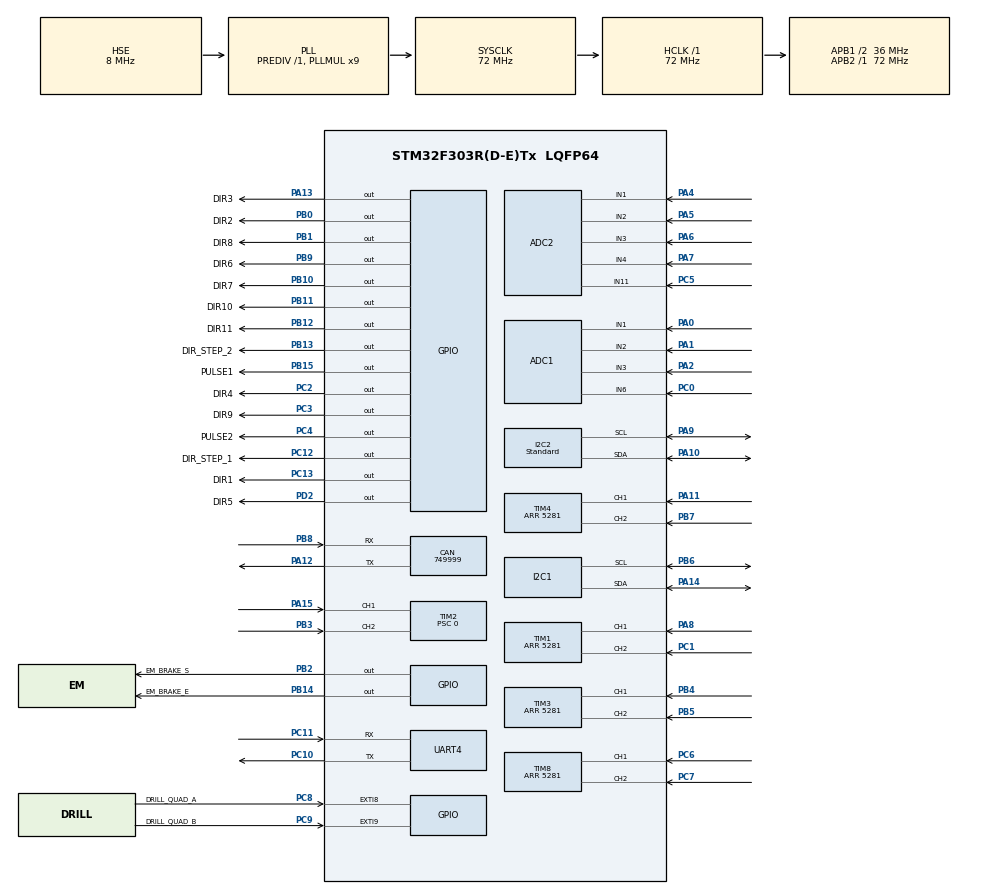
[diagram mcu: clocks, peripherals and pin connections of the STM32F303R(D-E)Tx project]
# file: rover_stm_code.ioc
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ADC1.Channel-3\#ChannelRegularConversion=ADC_CHANNEL_1
ADC1.Channel-4\#ChannelRegularConversion=ADC_CHANNEL_2
ADC1.Channel-5\#ChannelRegularConversion=ADC_CHANNEL_3
ADC1.Channel-6\#ChannelRegularConversion=ADC_CHANNEL_6
ADC1.ContinuousConvMode=ENABLE
ADC1.EnableRegularConversion=ENABLE
ADC1.NbrOfConversion=4
ADC1.NbrOfConversionFlag=1
ADC1.Offset-3\#ChannelRegularConversion=0
ADC1.Offset-4\#ChannelRegularConversion=0
ADC1.Offset-5\#ChannelRegularConversion=0
ADC1.Offset-6\#ChannelRegularConversion=0
ADC1.OffsetNumber-3\#ChannelRegularConversion=ADC_OFFSET_NONE
ADC1.OffsetNumber-4\#ChannelRegularConversion=ADC_OFFSET_NONE
ADC1.OffsetNumber-5\#ChannelRegularConversion=ADC_OFFSET_NONE
ADC1.OffsetNumber-6\#ChannelRegularConversion=ADC_OFFSET_NONE
ADC1.Rank-3\#ChannelRegularConversion=1
ADC1.Rank-4\#ChannelRegularConversion=2
ADC1.Rank-5\#ChannelRegularConversion=3
ADC1.Rank-6\#ChannelRegularConversion=4
ADC1.SamplingTime-3\#ChannelRegularConversion=ADC_SAMPLETIME_1CYCLE_5
ADC1.SamplingTime-4\#ChannelRegularConversion=ADC_SAMPLETIME_1CYCLE_5
ADC1.SamplingTime-5\#ChannelRegularConversion=ADC_SAMPLETIME_1CYCLE_5
ADC1.SamplingTime-6\#ChannelRegularConversion=ADC_SAMPLETIME_1CYCLE_5
ADC1.SamplingTimeOPAMP-3\#ChannelRegularConversion=ADC_SAMPLETIME_61CYCLES_5
ADC1.SamplingTimeOPAMP-4\#ChannelRegularConversion=ADC_SAMPLETIME_61CYCLES_5
ADC1.SamplingTimeOPAMP-5\#ChannelRegularConversion=ADC_SAMPLETIME_61CYCLES_5
ADC1.SamplingTimeOPAMP-6\#ChannelRegularConversion=ADC_SAMPLETIME_61CYCLES_5
ADC1.master=1
ADC2.Channel-0\#ChannelRegularConversion=ADC_CHANNEL_1
ADC2.Channel-1\#ChannelRegularConversion=ADC_CHANNEL_2
ADC2.Channel-2\#ChannelRegularConversion=ADC_CHANNEL_3
ADC2.Channel-3\#ChannelRegularConversion=ADC_CHANNEL_4
ADC2.Channel-4\#ChannelRegularConversion=ADC_CHANNEL_11
ADC2.ContinuousConvMode=ENABLE
ADC2.NbrOfConversion=5
ADC2.NbrOfConversionFlag=1
ADC2.Offset-0\#ChannelRegularConversion=0
ADC2.Offset-1\#ChannelRegularConversion=0
ADC2.Offset-2\#ChannelRegularConversion=0
ADC2.Offset-3\#ChannelRegularConversion=0
ADC2.Offset-4\#ChannelRegularConversion=0
ADC2.OffsetNumber-0\#ChannelRegularConversion=ADC_OFFSET_NONE
ADC2.OffsetNumber-1\#ChannelRegularConversion=ADC_OFFSET_NONE
ADC2.OffsetNumber-2\#ChannelRegularConversion=ADC_OFFSET_NONE
ADC2.OffsetNumber-3\#ChannelRegularConversion=ADC_OFFSET_NONE
ADC2.OffsetNumber-4\#ChannelRegularConversion=ADC_OFFSET_NONE
ADC2.Rank-0\#ChannelRegularConversion=1
ADC2.Rank-1\#ChannelRegularConversion=2
ADC2.Rank-2\#ChannelRegularConversion=3
ADC2.Rank-3\#ChannelRegularConversion=4
ADC2.Rank-4\#ChannelRegularConversion=5
ADC2.SamplingTime-0\#ChannelRegularConversion=ADC_SAMPLETIME_1CYCLE_5
ADC2.SamplingTime-1\#ChannelRegularConversion=ADC_SAMPLETIME_1CYCLE_5
ADC2.SamplingTime-2\#ChannelRegularConversion=ADC_SAMPLETIME_1CYCLE_5
ADC2.SamplingTime-3\#ChannelRegularConversion=ADC_SAMPLETIME_1CYCLE_5
ADC2.SamplingTime-4\#ChannelRegularConversion=ADC_SAMPLETIME_1CYCLE_5
ADC2.SamplingTimeOPAMP-1\#ChannelRegularConversion=ADC_SAMPLETIME_61CYCLES_5
ADC2.SamplingTimeOPAMP-2\#ChannelRegularConversion=ADC_SAMPLETIME_61CYCLES_5
ADC2.SamplingTimeOPAMP-3\#ChannelRegularConversion=ADC_SAMPLETIME_61CYCLES_5
ADC2.SamplingTimeOPAMP-4\#ChannelRegularConversion=ADC_SAMPLETIME_61CYCLES_5
CAN.BS1=CAN_BS1_1TQ
CAN.BS2=CAN_BS2_1TQ
CAN.CalculateBaudRate=749999
CAN.CalculateTimeBit=1333
CAN.CalculateTimeQuantum=444.44444444444446
Dma.ADC1.0.Direction=DMA_PERIPH_TO_MEMORY
Dma.ADC1.0.Instance=DMA1_Channel1
Dma.ADC1.0.MemDataAlignment=DMA_MDATAALIGN_HALFWORD
Dma.ADC1.0.MemInc=DMA_MINC_ENABLE
Dma.ADC1.0.Mode=DMA_CIRCULAR
Dma.ADC1.0.PeriphDataAlignment=DMA_PDATAALIGN_HALFWORD
Dma.ADC1.0.PeriphInc=DMA_PINC_DISABLE
Dma.ADC1.0.Priority=DMA_PRIORITY_LOW
Dma.ADC2.1.Direction=DMA_PERIPH_TO_MEMORY
Dma.ADC2.1.Instance=DMA2_Channel1
Dma.ADC2.1.MemDataAlignment=DMA_MDATAALIGN_HALFWORD
Dma.ADC2.1.MemInc=DMA_MINC_ENABLE
Dma.ADC2.1.Mode=DMA_CIRCULAR
Dma.ADC2.1.PeriphDataAlignment=DMA_PDATAALIGN_HALFWORD
Dma.ADC2.1.PeriphInc=DMA_PINC_DISABLE
Dma.ADC2.1.Priority=DMA_PRIORITY_LOW
Dma.Request0=ADC1
Dma.Request1=ADC2
Dma.Request2=UART4_RX
Dma.UART4_RX.2.Direction=DMA_PERIPH_TO_MEMORY
Dma.UART4_RX.2.Instance=DMA2_Channel3
Dma.UART4_RX.2.MemDataAlignment=DMA_MDATAALIGN_BYTE
Dma.UART4_RX.2.MemInc=DMA_MINC_ENABLE
Dma.UART4_RX.2.Mode=DMA_NORMAL
Dma.UART4_RX.2.PeriphDataAlignment=DMA_PDATAALIGN_BYTE
Dma.UART4_RX.2.PeriphInc=DMA_PINC_DISABLE
Dma.UART4_RX.2.Priority=DMA_PRIORITY_MEDIUM
I2C1.Timing=0x00201D2B
I2C2.I2C_Speed_Mode=I2C_Standard
I2C2.Timing=0x00201D2B
Mcu.Family=STM32F3
Mcu.Name=STM32F303R(D-E)Tx
Mcu.Package=LQFP64
NVIC.DMA1_Channel1_IRQn=true\:0\:0\:false\:false\:true\:false\:true\:true
NVIC.DMA2_Channel1_IRQn=true\:0\:0\:false\:false\:true\:false\:true\:true
NVIC.DMA2_Channel3_IRQn=true\:0\:0\:false\:false\:true\:false\:true\:true
NVIC.EXTI9_5_IRQn=true\:0\:0\:false\:false\:true\:true\:true\:true
NVIC.I2C1_ER_IRQn=true\:0\:0\:false\:false\:true\:true\:true\:true
NVIC.I2C1_EV_IRQn=true\:0\:0\:false\:false\:true\:true\:true\:true
NVIC.I2C2_ER_IRQn=true\:0\:0\:false\:false\:true\:true\:true\:true
NVIC.I2C2_EV_IRQn=true\:0\:0\:false\:false\:true\:true\:true\:true
NVIC.PriorityGroup=NVIC_PRIORITYGROUP_4
NVIC.TIM1_UP_TIM16_IRQn=true\:0\:0\:false\:false\:true\:true\:true\:true
NVIC.TIM6_DAC_IRQn=true\:0\:0\:false\:false\:true\:true\:true\:true
NVIC.TIM7_IRQn=true\:0\:0\:false\:false\:true\:true\:true\:true
PA0.Mode=IN1-Single-Ended
PA0.Signal=ADC1_IN1
PA1.Mode=IN2-Single-Ended
PA1.Signal=ADC1_IN2
PA10.Mode=I2C
PA10.Signal=I2C2_SDA
PA11.Signal=S_TIM4_CH1
PA12.Mode=CAN_Activate
PA12.Signal=CAN_TX
PA13.GPIO_Label=DIR3
PA13.Signal=GPIO_Output
PA14.Mode=I2C
PA14.Signal=I2C1_SDA
PA15.Signal=S_TIM2_CH1_ETR
PA2.Mode=IN3-Single-Ended
PA2.Signal=ADC1_IN3
PA4.Mode=IN1-Single-Ended
PA4.Signal=ADC2_IN1
PA5.Mode=IN2-Single-Ended
PA5.Signal=ADC2_IN2
PA6.Mode=IN3-Single-Ended
PA6.Signal=ADC2_IN3
PA7.Mode=IN4-Single-Ended
PA7.Signal=ADC2_IN4
PA8.Signal=S_TIM1_CH1
PA9.Mode=I2C
PA9.Signal=I2C2_SCL
PB0.GPIO_Label=DIR2
PB0.Signal=GPIO_Output
PB1.GPIO_Label=DIR8
PB1.Signal=GPIO_Output
PB10.GPIO_Label=DIR7
PB10.Signal=GPIO_Output
PB11.GPIO_Label=DIR10
PB11.Signal=GPIO_Output
PB12.GPIO_Label=DIR11
PB12.Signal=GPIO_Output
PB13.GPIO_Label=DIR_STEP_2
PB13.Signal=GPIO_Output
PB14.GPIO_Label=EM_BRAKE_E
PB14.Signal=GPIO_Output
PB15.GPIO_Label=PULSE1
PB15.Signal=GPIO_Output
PB2.GPIO_Label=EM_BRAKE_S
PB2.Signal=GPIO_Output
PB3.Signal=S_TIM2_CH2
PB4.Signal=S_TIM3_CH1
PB5.Signal=S_TIM3_CH2
PB6.Mode=I2C
PB6.Signal=I2C1_SCL
PB7.Signal=S_TIM4_CH2
PB8.Mode=CAN_Activate
PB8.Signal=CAN_RX
PB9.GPIO_Label=DIR6
PB9.Signal=GPIO_Output
PC0.Signal=ADCx_IN6
PC1.Signal=S_TIM1_CH2
PC10.Mode=Asynchronous
PC10.Signal=UART4_TX
PC11.Mode=Asynchronous
PC11.Signal=UART4_RX
PC12.GPIO_Label=DIR_STEP_1
PC12.Signal=GPIO_Output
PC13.GPIO_Label=DIR1
PC13.Signal=GPIO_Output
PC14-OSC32_IN.Mode=LSE-External-Oscillator
PC14-OSC32_IN.Signal=RCC_OSC32_IN
PC15-OSC32_OUT.Mode=LSE-External-Oscillator
PC15-OSC32_OUT.Signal=RCC_OSC32_OUT
PC2.GPIO_Label=DIR4
PC2.Signal=GPIO_Output
PC3.GPIO_Label=DIR9
PC3.Signal=GPIO_Output
PC4.GPIO_Label=PULSE2
PC4.Signal=GPIO_Output
PC5.Mode=IN11-Single-Ended
PC5.Signal=ADC2_IN11
PC6.Signal=S_TIM8_CH1
PC7.Signal=S_TIM8_CH2
PC8.GPIO_Label=DRILL_QUAD_A
PC8.Signal=GPXTI8
PC9.GPIO_Label=DRILL_QUAD_B
PC9.GPIO_ModeDefaultEXTI=GPIO_MODE_IT_RISING_FALLING
PC9.GPIO_PuPd=GPIO_NOPULL
PC9.Signal=GPXTI9
PD2.GPIO_Label=DIR5
PD2.Signal=GPIO_Output
PF0-OSC_IN.Mode=HSE-External-Oscillator
PF0-OSC_IN.Signal=RCC_OSC_IN
PF1-OSC_OUT.Mode=HSE-External-Oscillator
PF1-OSC_OUT.Signal=RCC_OSC_OUT
ProjectManager.HeapSize=0x200
ProjectManager.StackSize=0x400
ProjectManager.TargetToolchain=STM32CubeIDE
RCC.AHBFreq_Value=72000000
RCC.APB1CLKDivider=RCC_HCLK_DIV2
RCC.APB1Freq_Value=36000000
RCC.APB1TimFreq_Value=72000000
RCC.APB2Freq_Value=72000000
RCC.APB2TimFreq_Value=72000000
RCC.CortexFreq_Value=72000000
RCC.HCLKFreq_Value=72000000
RCC.HSE_VALUE=8000000
RCC.HSI_VALUE=8000000
RCC.PLLMUL=RCC_PLL_MUL9
RCC.PLLSourceVirtual=RCC_PLLSOURCE_HSE
RCC.SYSCLKFreq_VALUE=72000000
RCC.SYSCLKSourceVirtual=RCC_SYSCLKSOURCE_PLLCLK
RCC.USBFreq_Value=72000000
SH.ADCx_IN6.0=ADC1_IN6,IN6-Single-Ended
SH.S_TIM1_CH1.0=TIM1_CH1,Encoder_Interface
SH.S_TIM1_CH2.0=TIM1_CH2,Encoder_Interface
SH.S_TIM2_CH1_ETR.0=TIM2_CH1,Encoder_Interface
SH.S_TIM2_CH2.0=TIM2_CH2,Encoder_Interface
SH.S_TIM3_CH1.0=TIM3_CH1,Encoder_Interface
SH.S_TIM3_CH2.0=TIM3_CH2,Encoder_Interface
SH.S_TIM4_CH1.0=TIM4_CH1,Encoder_Interface
SH.S_TIM4_CH2.0=TIM4_CH2,Encoder_Interface
SH.S_TIM8_CH1.0=TIM8_CH1,Encoder_Interface
SH.S_TIM8_CH2.0=TIM8_CH2,Encoder_Interface
TIM1.AutoReloadPreload=TIM_AUTORELOAD_PRELOAD_ENABLE
TIM1.EncoderMode=TIM_ENCODERMODE_TI12
TIM1.IC1Filter=10
TIM1.IC2Filter=10
TIM1.Period=5281
TIM16.AutoReloadPreload=TIM_AUTORELOAD_PRELOAD_ENABLE
TIM16.Period=99
TIM16.Prescaler=7199
TIM2.AutoReloadPreload=TIM_AUTORELOAD_PRELOAD_ENABLE
TIM2.EncoderMode=TIM_ENCODERMODE_TI12
TIM2.IC1Filter=10
TIM2.IC2Filter=10
TIM2.Period=5281
TIM2.Prescaler=0
TIM3.AutoReloadPreload=TIM_AUTORELOAD_PRELOAD_ENABLE
TIM3.EncoderMode=TIM_ENCODERMODE_TI12
TIM3.IC1Filter=10
TIM3.IC2Filter=10
TIM3.Period=5281
TIM4.AutoReloadPreload=TIM_AUTORELOAD_PRELOAD_ENABLE
TIM4.EncoderMode=TIM_ENCODERMODE_TI12
TIM4.IC1Filter=10
TIM4.IC2Filter=10
TIM4.Period=5281
TIM6.AutoReloadPreload=TIM_AUTORELOAD_PRELOAD_ENABLE
TIM6.Period=99
TIM6.Prescaler=7199
TIM7.AutoReloadPreload=TIM_AUTORELOAD_PRELOAD_ENABLE
TIM7.Period=799
TIM7.Prescaler=71
TIM8.AutoReloadPreload=TIM_AUTORELOAD_PRELOAD_ENABLE
TIM8.EncoderMode=TIM_ENCODERMODE_TI12
TIM8.IC1Filter=10
TIM8.IC2Filter=10
TIM8.Period=5281
VP_TIM16_VS_ClockSourceINT.Mode=Enable_Timer
VP_TIM6_VS_ClockSourceINT.Mode=Enable_Timer
VP_TIM7_VS_ClockSourceINT.Mode=Enable_Timer
board=custom

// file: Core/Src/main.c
/* USER CODE BEGIN Header */
/**
  ******************************************************************************
  * @file           : main.c
  * @brief          : Main program body
  ******************************************************************************
  * @attention
  *
  * Copyright (c) 2025 STMicroelectronics.
  * All rights reserved.
  *
  * This software is licensed under terms that can be found in the LICENSE file
  * in the root directory of this software component.
  * If no LICENSE file comes with this software, it is provided AS-IS.
  *
  ******************************************************************************
  */
/* USER CODE END Header */
#include "main.h"

ADC_HandleTypeDef hadc1;
ADC_HandleTypeDef hadc2;
DMA_HandleTypeDef hdma_adc1;
DMA_HandleTypeDef hdma_adc2;

CAN_HandleTypeDef hcan;

I2C_HandleTypeDef hi2c1;
I2C_HandleTypeDef hi2c2;

TIM_HandleTypeDef htim1;
TIM_HandleTypeDef htim2;
TIM_HandleTypeDef htim3;
TIM_HandleTypeDef htim4;
TIM_HandleTypeDef htim6;
TIM_HandleTypeDef htim7;
TIM_HandleTypeDef htim8;
TIM_HandleTypeDef htim16;

UART_HandleTypeDef huart4;
DMA_HandleTypeDef hdma_uart4_rx;

/* USER CODE BEGIN PV */
extern uint8_t TxData_buf[];

/* USER CODE END PV */

void SystemClock_Config(void);
static void MX_GPIO_Init(void);
static void MX_DMA_Init(void);
static void MX_ADC1_Init(void);
static void MX_ADC2_Init(void);
static void MX_CAN_Init(void);
static void MX_I2C1_Init(void);
static void MX_I2C2_Init(void);
static void MX_TIM1_Init(void);
static void MX_TIM2_Init(void);
static void MX_TIM3_Init(void);
static void MX_TIM4_Init(void);
static void MX_TIM8_Init(void);
static void MX_UART4_Init(void);
static void MX_TIM6_Init(void);
static void MX_TIM7_Init(void);
static void MX_TIM16_Init(void);

/* USER CODE BEGIN 0 */

extern uint32_t enc_curr[NUM_QUAD];
extern uint32_t enc_prev[NUM_QUAD];

extern int16_t diff[NUM_QUAD];
extern int16_t diff2[NUM_QUAD];
extern int16_t diff_prev[NUM_QUAD];

//drill encoder
extern int16_t gpio_diff;
extern int16_t gpio_diff2;
extern int16_t gpio_diff_prev;

extern int32_t gpio_pos;
extern int32_t gpio_enc_curr; //absolute position
extern int32_t gpio_enc_prev;

extern int32_t pos[NUM_QUAD]; //absolute position
extern int32_t dat[3*NUM_QUAD];

uint8_t uart_rx_buf[UART_RX_SIZE];
volatile uint8_t pwm_arr[NUM_MOTORS];
uint16_t pwm_out[NUM_MOTORS];
volatile _Bool dir_arr[NUM_MOTORS];
volatile uint16_t servo_arr[NUM_SERVOS];
uint8_t wrist_command = 0;
//_Bool down = 0;

int i;

int16_t diffdat[NUM_QUAD] = {0};

extern volatile int32_t quad_count;
extern volatile uint8_t gpio_quad_counting_down;

extern volatile uint8_t motor_overcurrent_flags[]; //overcurrent flags

GPIO_TypeDef * const dir_port_arr[NUM_MOTORS] = {DIR1_GPIO_Port, DIR2_GPIO_Port, DIR3_GPIO_Port,
		DIR4_GPIO_Port, DIR5_GPIO_Port, DIR6_GPIO_Port, DIR7_GPIO_Port,
		DIR8_GPIO_Port, DIR9_GPIO_Port, DIR10_GPIO_Port, DIR11_GPIO_Port};
uint16_t const dir_pin_arr[NUM_MOTORS] = {DIR1_Pin, DIR2_Pin, DIR3_Pin, DIR4_Pin, DIR5_Pin,
		DIR6_Pin, DIR7_Pin, DIR8_Pin, DIR9_Pin, DIR10_Pin, DIR11_Pin};

/* USER CODE END 0 */

int main(void)
{

  /* USER CODE BEGIN 1 */
	//start UART RX

  /* USER CODE END 1 */

  /* MCU Configuration--------------------------------------------------------*/

  /* Reset of all peripherals, Initializes the Flash interface and the Systick. */
  HAL_Init();

  /* Configure the system clock */
  SystemClock_Config();

  /* Initialize all configured peripherals */
  MX_GPIO_Init();
  MX_DMA_Init();
  MX_ADC1_Init();
  MX_ADC2_Init();
  MX_CAN_Init();
  MX_I2C1_Init();
  MX_I2C2_Init();
  MX_TIM1_Init();
  MX_TIM2_Init();
  MX_TIM3_Init();
  MX_TIM4_Init();
  MX_TIM8_Init();
  MX_UART4_Init();
  MX_TIM6_Init();
  MX_TIM7_Init();
  MX_TIM16_Init();
  /* USER CODE BEGIN 2 */
  HAL_TIM_Encoder_Start(&htim1, TIM_CHANNEL_ALL);
  HAL_TIM_Encoder_Start(&htim2, TIM_CHANNEL_ALL);
  HAL_TIM_Encoder_Start(&htim3, TIM_CHANNEL_ALL);
  HAL_TIM_Encoder_Start(&htim4, TIM_CHANNEL_ALL);
  HAL_TIM_Encoder_Start(&htim8, TIM_CHANNEL_ALL);
  //startup sequence
  HAL_TIM_Base_Start_IT(&htim7);
  Encoder_Init();
  Start_ADC_DMA_All();
  PCA9685_MOTOR_Init();
  PCA9685_MOTOR_SetFrequency(1000);

  PCA9685_CAM_Init();
  PCA9685_CAM_SetFrequency(50);

  HAL_UART_Receive_DMA (&huart4, uart_rx_buf, UART_RX_SIZE);

  int get_pca_index_val[] = {14,13,11,12,10,9,7,6,8,5,4,3};
  /* USER CODE END 2 */

  /* Infinite loop */
  /* USER CODE BEGIN WHILE */
	while (1)
	{
		for (int i = 0; i < NUM_MOTORS; i++){
			PCA9685_MOTOR_SetPWM(get_pca_index_val[i], 0, ((uint16_t)pwm_arr[i]) << 4);
			HAL_GPIO_WritePin(dir_port_arr[i], dir_pin_arr[i], dir_arr[i]);
		}

		for (int i = 0; i < NUM_SERVOS; i++){
			PCA9685_CAM_SetPWM(i, 0, servo_arr[i]);
		}

		read_magnetic_encoder();

		timer_quad_poll();
		timer_update_TX();
		drill_quad_poll();
		drill_update_TX();

		wrist_turn(wrist_command);

		TxData_buf[data_out_length-1] = '\n';
		HAL_UART_Transmit(&huart4, TxData_buf, data_out_length, 100);

		HAL_Delay(50); // delay between magnetic encoder data
    /* USER CODE END WHILE */

	}
}

void SystemClock_Config(void)
{
  RCC_OscInitTypeDef RCC_OscInitStruct = {0};
  RCC_ClkInitTypeDef RCC_ClkInitStruct = {0};
  RCC_PeriphCLKInitTypeDef PeriphClkInit = {0};

  /** Initializes the RCC Oscillators according to the specified parameters
  * in the RCC_OscInitTypeDef structure.
  */
  RCC_OscInitStruct.OscillatorType = RCC_OSCILLATORTYPE_HSI|RCC_OSCILLATORTYPE_HSE;
  RCC_OscInitStruct.HSEState = RCC_HSE_ON;
  RCC_OscInitStruct.HSIState = RCC_HSI_ON;
  RCC_OscInitStruct.HSICalibrationValue = RCC_HSICALIBRATION_DEFAULT;
  RCC_OscInitStruct.PLL.PLLState = RCC_PLL_ON;
  RCC_OscInitStruct.PLL.PLLSource = RCC_PLLSOURCE_HSE;
  RCC_OscInitStruct.PLL.PLLMUL = RCC_PLL_MUL9;
  RCC_OscInitStruct.PLL.PREDIV = RCC_PREDIV_DIV1;
  if (HAL_RCC_OscConfig(&RCC_OscInitStruct) != HAL_OK)
  {
    Error_Handler();
  }

  /** Initializes the CPU, AHB and APB buses clocks
  */
  RCC_ClkInitStruct.ClockType = RCC_CLOCKTYPE_HCLK|RCC_CLOCKTYPE_SYSCLK
                              |RCC_CLOCKTYPE_PCLK1|RCC_CLOCKTYPE_PCLK2;
  RCC_ClkInitStruct.SYSCLKSource = RCC_SYSCLKSOURCE_PLLCLK;
  RCC_ClkInitStruct.AHBCLKDivider = RCC_SYSCLK_DIV1;
  RCC_ClkInitStruct.APB1CLKDivider = RCC_HCLK_DIV2;
  RCC_ClkInitStruct.APB2CLKDivider = RCC_HCLK_DIV1;

  if (HAL_RCC_ClockConfig(&RCC_ClkInitStruct, FLASH_LATENCY_2) != HAL_OK)
  {
    Error_Handler();
  }
  PeriphClkInit.PeriphClockSelection = RCC_PERIPHCLK_UART4|RCC_PERIPHCLK_I2C1
                              |RCC_PERIPHCLK_I2C2|RCC_PERIPHCLK_TIM1
                              |RCC_PERIPHCLK_TIM16|RCC_PERIPHCLK_TIM8
                              |RCC_PERIPHCLK_ADC12|RCC_PERIPHCLK_TIM2
                              |RCC_PERIPHCLK_TIM34;
  PeriphClkInit.Uart4ClockSelection = RCC_UART4CLKSOURCE_PCLK1;
  PeriphClkInit.Adc12ClockSelection = RCC_ADC12PLLCLK_DIV1;
  PeriphClkInit.I2c1ClockSelection = RCC_I2C1CLKSOURCE_HSI;
  PeriphClkInit.I2c2ClockSelection = RCC_I2C2CLKSOURCE_HSI;
  PeriphClkInit.Tim1ClockSelection = RCC_TIM1CLK_HCLK;
  PeriphClkInit.Tim16ClockSelection = RCC_TIM16CLK_HCLK;
  PeriphClkInit.Tim8ClockSelection = RCC_TIM8CLK_HCLK;
  PeriphClkInit.Tim2ClockSelection = RCC_TIM2CLK_HCLK;
  PeriphClkInit.Tim34ClockSelection = RCC_TIM34CLK_HCLK;
  if (HAL_RCCEx_PeriphCLKConfig(&PeriphClkInit) != HAL_OK)
  {
    Error_Handler();
  }
}

static void MX_ADC1_Init(void)
{

  ADC_MultiModeTypeDef multimode = {0};
  ADC_ChannelConfTypeDef sConfig = {0};

  /** Common config
  */
  hadc1.Instance = ADC1;
  hadc1.Init.ClockPrescaler = ADC_CLOCK_ASYNC_DIV1;
  hadc1.Init.Resolution = ADC_RESOLUTION_12B;
  hadc1.Init.ScanConvMode = ADC_SCAN_ENABLE;
  hadc1.Init.ContinuousConvMode = ENABLE;
  hadc1.Init.DiscontinuousConvMode = DISABLE;
  hadc1.Init.ExternalTrigConvEdge = ADC_EXTERNALTRIGCONVEDGE_NONE;
  hadc1.Init.ExternalTrigConv = ADC_SOFTWARE_START;
  hadc1.Init.DataAlign = ADC_DATAALIGN_RIGHT;
  hadc1.Init.NbrOfConversion = 4;
  hadc1.Init.DMAContinuousRequests = DISABLE;
  hadc1.Init.EOCSelection = ADC_EOC_SINGLE_CONV;
  hadc1.Init.LowPowerAutoWait = DISABLE;
  hadc1.Init.Overrun = ADC_OVR_DATA_OVERWRITTEN;
  if (HAL_ADC_Init(&hadc1) != HAL_OK)
  {
    Error_Handler();
  }

  /** Configure the ADC multi-mode
  */
  multimode.Mode = ADC_MODE_INDEPENDENT;
  if (HAL_ADCEx_MultiModeConfigChannel(&hadc1, &multimode) != HAL_OK)
  {
    Error_Handler();
  }

  /** Configure Regular Channel
  */
  sConfig.Channel = ADC_CHANNEL_1;
  sConfig.Rank = ADC_REGULAR_RANK_1;
  sConfig.SingleDiff = ADC_SINGLE_ENDED;
  sConfig.SamplingTime = ADC_SAMPLETIME_1CYCLE_5;
  sConfig.OffsetNumber = ADC_OFFSET_NONE;
  sConfig.Offset = 0;
  if (HAL_ADC_ConfigChannel(&hadc1, &sConfig) != HAL_OK)
  {
    Error_Handler();
  }

  /** Configure Regular Channel
  */
  sConfig.Channel = ADC_CHANNEL_2;
  sConfig.Rank = ADC_REGULAR_RANK_2;
  if (HAL_ADC_ConfigChannel(&hadc1, &sConfig) != HAL_OK)
  {
    Error_Handler();
  }

  /** Configure Regular Channel
  */
  sConfig.Channel = ADC_CHANNEL_3;
  sConfig.Rank = ADC_REGULAR_RANK_3;
  if (HAL_ADC_ConfigChannel(&hadc1, &sConfig) != HAL_OK)
  {
    Error_Handler();
  }

  /** Configure Regular Channel
  */
  sConfig.Channel = ADC_CHANNEL_6;
  sConfig.Rank = ADC_REGULAR_RANK_4;
  if (HAL_ADC_ConfigChannel(&hadc1, &sConfig) != HAL_OK)
  {
    Error_Handler();
  }

}

static void MX_ADC2_Init(void)
{

  ADC_ChannelConfTypeDef sConfig = {0};

  /** Common config
  */
  hadc2.Instance = ADC2;
  hadc2.Init.ClockPrescaler = ADC_CLOCK_ASYNC_DIV1;
  hadc2.Init.Resolution = ADC_RESOLUTION_12B;
  hadc2.Init.ScanConvMode = ADC_SCAN_ENABLE;
  hadc2.Init.ContinuousConvMode = ENABLE;
  hadc2.Init.DiscontinuousConvMode = DISABLE;
  hadc2.Init.ExternalTrigConvEdge = ADC_EXTERNALTRIGCONVEDGE_NONE;
  hadc2.Init.ExternalTrigConv = ADC_SOFTWARE_START;
  hadc2.Init.DataAlign = ADC_DATAALIGN_RIGHT;
  hadc2.Init.NbrOfConversion = 5;
  hadc2.Init.DMAContinuousRequests = DISABLE;
  hadc2.Init.EOCSelection = ADC_EOC_SINGLE_CONV;
  hadc2.Init.LowPowerAutoWait = DISABLE;
  hadc2.Init.Overrun = ADC_OVR_DATA_OVERWRITTEN;
  if (HAL_ADC_Init(&hadc2) != HAL_OK)
  {
    Error_Handler();
  }

  /** Configure Regular Channel
  */
  sConfig.Channel = ADC_CHANNEL_1;
  sConfig.Rank = ADC_REGULAR_RANK_1;
  sConfig.SingleDiff = ADC_SINGLE_ENDED;
  sConfig.SamplingTime = ADC_SAMPLETIME_1CYCLE_5;
  sConfig.OffsetNumber = ADC_OFFSET_NONE;
  sConfig.Offset = 0;
  if (HAL_ADC_ConfigChannel(&hadc2, &sConfig) != HAL_OK)
  {
    Error_Handler();
  }

  /** Configure Regular Channel
  */
  sConfig.Channel = ADC_CHANNEL_2;
  sConfig.Rank = ADC_REGULAR_RANK_2;
  if (HAL_ADC_ConfigChannel(&hadc2, &sConfig) != HAL_OK)
  {
    Error_Handler();
  }

  /** Configure Regular Channel
  */
  sConfig.Channel = ADC_CHANNEL_3;
  sConfig.Rank = ADC_REGULAR_RANK_3;
  if (HAL_ADC_ConfigChannel(&hadc2, &sConfig) != HAL_OK)
  {
    Error_Handler();
  }

  /** Configure Regular Channel
  */
  sConfig.Channel = ADC_CHANNEL_4;
  sConfig.Rank = ADC_REGULAR_RANK_4;
  if (HAL_ADC_ConfigChannel(&hadc2, &sConfig) != HAL_OK)
  {
    Error_Handler();
  }

  /** Configure Regular Channel
  */
  sConfig.Channel = ADC_CHANNEL_11;
  sConfig.Rank = ADC_REGULAR_RANK_5;
  if (HAL_ADC_ConfigChannel(&hadc2, &sConfig) != HAL_OK)
  {
    Error_Handler();
  }

}

static void MX_CAN_Init(void)
{

  hcan.Instance = CAN;
  hcan.Init.Prescaler = 16;
  hcan.Init.Mode = CAN_MODE_NORMAL;
  hcan.Init.SyncJumpWidth = CAN_SJW_1TQ;
  hcan.Init.TimeSeg1 = CAN_BS1_1TQ;
  hcan.Init.TimeSeg2 = CAN_BS2_1TQ;
  hcan.Init.TimeTriggeredMode = DISABLE;
  hcan.Init.AutoBusOff = DISABLE;
  hcan.Init.AutoWakeUp = DISABLE;
  hcan.Init.AutoRetransmission = DISABLE;
  hcan.Init.ReceiveFifoLocked = DISABLE;
  hcan.Init.TransmitFifoPriority = DISABLE;
  if (HAL_CAN_Init(&hcan) != HAL_OK)
  {
    Error_Handler();
  }

}

static void MX_I2C1_Init(void)
{

  hi2c1.Instance = I2C1;
  hi2c1.Init.Timing = 0x00201D2B;
  hi2c1.Init.OwnAddress1 = 0;
  hi2c1.Init.AddressingMode = I2C_ADDRESSINGMODE_7BIT;
  hi2c1.Init.DualAddressMode = I2C_DUALADDRESS_DISABLE;
  hi2c1.Init.OwnAddress2 = 0;
  hi2c1.Init.OwnAddress2Masks = I2C_OA2_NOMASK;
  hi2c1.Init.GeneralCallMode = I2C_GENERALCALL_DISABLE;
  hi2c1.Init.NoStretchMode = I2C_NOSTRETCH_DISABLE;
  if (HAL_I2C_Init(&hi2c1) != HAL_OK)
  {
    Error_Handler();
  }

  /** Configure Analogue filter
  */
  if (HAL_I2CEx_ConfigAnalogFilter(&hi2c1, I2C_ANALOGFILTER_ENABLE) != HAL_OK)
  {
    Error_Handler();
  }

  /** Configure Digital filter
  */
  if (HAL_I2CEx_ConfigDigitalFilter(&hi2c1, 0) != HAL_OK)
  {
    Error_Handler();
  }

}

static void MX_I2C2_Init(void)
{

  hi2c2.Instance = I2C2;
  hi2c2.Init.Timing = 0x00201D2B;
  hi2c2.Init.OwnAddress1 = 0;
  hi2c2.Init.AddressingMode = I2C_ADDRESSINGMODE_7BIT;
  hi2c2.Init.DualAddressMode = I2C_DUALADDRESS_DISABLE;
  hi2c2.Init.OwnAddress2 = 0;
  hi2c2.Init.OwnAddress2Masks = I2C_OA2_NOMASK;
  hi2c2.Init.GeneralCallMode = I2C_GENERALCALL_DISABLE;
  hi2c2.Init.NoStretchMode = I2C_NOSTRETCH_DISABLE;
  if (HAL_I2C_Init(&hi2c2) != HAL_OK)
  {
    Error_Handler();
  }

  /** Configure Analogue filter
  */
  if (HAL_I2CEx_ConfigAnalogFilter(&hi2c2, I2C_ANALOGFILTER_ENABLE) != HAL_OK)
  {
    Error_Handler();
  }

  /** Configure Digital filter
  */
  if (HAL_I2CEx_ConfigDigitalFilter(&hi2c2, 0) != HAL_OK)
  {
    Error_Handler();
  }

}

static void MX_TIM1_Init(void)
{

  TIM_Encoder_InitTypeDef sConfig = {0};
  TIM_MasterConfigTypeDef sMasterConfig = {0};

  htim1.Instance = TIM1;
  htim1.Init.Prescaler = 0;
  htim1.Init.CounterMode = TIM_COUNTERMODE_UP;
  htim1.Init.Period = 5281;
  htim1.Init.ClockDivision = TIM_CLOCKDIVISION_DIV1;
  htim1.Init.RepetitionCounter = 0;
  htim1.Init.AutoReloadPreload = TIM_AUTORELOAD_PRELOAD_ENABLE;
  sConfig.EncoderMode = TIM_ENCODERMODE_TI12;
  sConfig.IC1Polarity = TIM_ICPOLARITY_RISING;
  sConfig.IC1Selection = TIM_ICSELECTION_DIRECTTI;
  sConfig.IC1Prescaler = TIM_ICPSC_DIV1;
  sConfig.IC1Filter = 10;
  sConfig.IC2Polarity = TIM_ICPOLARITY_RISING;
  sConfig.IC2Selection = TIM_ICSELECTION_DIRECTTI;
  sConfig.IC2Prescaler = TIM_ICPSC_DIV1;
  sConfig.IC2Filter = 10;
  if (HAL_TIM_Encoder_Init(&htim1, &sConfig) != HAL_OK)
  {
    Error_Handler();
  }
  sMasterConfig.MasterOutputTrigger = TIM_TRGO_RESET;
  sMasterConfig.MasterOutputTrigger2 = TIM_TRGO2_RESET;
  sMasterConfig.MasterSlaveMode = TIM_MASTERSLAVEMODE_DISABLE;
  if (HAL_TIMEx_MasterConfigSynchronization(&htim1, &sMasterConfig) != HAL_OK)
  {
    Error_Handler();
  }

}

static void MX_TIM2_Init(void)
{

  TIM_Encoder_InitTypeDef sConfig = {0};
  TIM_MasterConfigTypeDef sMasterConfig = {0};

  htim2.Instance = TIM2;
  htim2.Init.Prescaler = 0;
  htim2.Init.CounterMode = TIM_COUNTERMODE_UP;
  htim2.Init.Period = 5281;
  htim2.Init.ClockDivision = TIM_CLOCKDIVISION_DIV1;
  htim2.Init.AutoReloadPreload = TIM_AUTORELOAD_PRELOAD_ENABLE;
  sConfig.EncoderMode = TIM_ENCODERMODE_TI12;
  sConfig.IC1Polarity = TIM_ICPOLARITY_RISING;
  sConfig.IC1Selection = TIM_ICSELECTION_DIRECTTI;
  sConfig.IC1Prescaler = TIM_ICPSC_DIV1;
  sConfig.IC1Filter = 10;
  sConfig.IC2Polarity = TIM_ICPOLARITY_RISING;
  sConfig.IC2Selection = TIM_ICSELECTION_DIRECTTI;
  sConfig.IC2Prescaler = TIM_ICPSC_DIV1;
  sConfig.IC2Filter = 10;
  if (HAL_TIM_Encoder_Init(&htim2, &sConfig) != HAL_OK)
  {
    Error_Handler();
  }
  sMasterConfig.MasterOutputTrigger = TIM_TRGO_RESET;
  sMasterConfig.MasterSlaveMode = TIM_MASTERSLAVEMODE_DISABLE;
  if (HAL_TIMEx_MasterConfigSynchronization(&htim2, &sMasterConfig) != HAL_OK)
  {
    Error_Handler();
  }

}

static void MX_TIM3_Init(void)
{

  TIM_Encoder_InitTypeDef sConfig = {0};
  TIM_MasterConfigTypeDef sMasterConfig = {0};

  htim3.Instance = TIM3;
  htim3.Init.Prescaler = 0;
  htim3.Init.CounterMode = TIM_COUNTERMODE_UP;
  htim3.Init.Period = 5281;
  htim3.Init.ClockDivision = TIM_CLOCKDIVISION_DIV1;
  htim3.Init.AutoReloadPreload = TIM_AUTORELOAD_PRELOAD_ENABLE;
  sConfig.EncoderMode = TIM_ENCODERMODE_TI12;
  sConfig.IC1Polarity = TIM_ICPOLARITY_RISING;
  sConfig.IC1Selection = TIM_ICSELECTION_DIRECTTI;
  sConfig.IC1Prescaler = TIM_ICPSC_DIV1;
  sConfig.IC1Filter = 10;
  sConfig.IC2Polarity = TIM_ICPOLARITY_RISING;
  sConfig.IC2Selection = TIM_ICSELECTION_DIRECTTI;
  sConfig.IC2Prescaler = TIM_ICPSC_DIV1;
  sConfig.IC2Filter = 10;
  if (HAL_TIM_Encoder_Init(&htim3, &sConfig) != HAL_OK)
  {
    Error_Handler();
  }
  sMasterConfig.MasterOutputTrigger = TIM_TRGO_RESET;
  sMasterConfig.MasterSlaveMode = TIM_MASTERSLAVEMODE_DISABLE;
  if (HAL_TIMEx_MasterConfigSynchronization(&htim3, &sMasterConfig) != HAL_OK)
  {
    Error_Handler();
  }

}

static void MX_TIM4_Init(void)
{

  TIM_Encoder_InitTypeDef sConfig = {0};
  TIM_MasterConfigTypeDef sMasterConfig = {0};

  htim4.Instance = TIM4;
  htim4.Init.Prescaler = 0;
  htim4.Init.CounterMode = TIM_COUNTERMODE_UP;
  htim4.Init.Period = 5281;
  htim4.Init.ClockDivision = TIM_CLOCKDIVISION_DIV1;
  htim4.Init.AutoReloadPreload = TIM_AUTORELOAD_PRELOAD_ENABLE;
  sConfig.EncoderMode = TIM_ENCODERMODE_TI12;
  sConfig.IC1Polarity = TIM_ICPOLARITY_RISING;
  sConfig.IC1Selection = TIM_ICSELECTION_DIRECTTI;
  sConfig.IC1Prescaler = TIM_ICPSC_DIV1;
  sConfig.IC1Filter = 10;
  sConfig.IC2Polarity = TIM_ICPOLARITY_RISING;
  sConfig.IC2Selection = TIM_ICSELECTION_DIRECTTI;
  sConfig.IC2Prescaler = TIM_ICPSC_DIV1;
  sConfig.IC2Filter = 10;
  if (HAL_TIM_Encoder_Init(&htim4, &sConfig) != HAL_OK)
  {
    Error_Handler();
  }
  sMasterConfig.MasterOutputTrigger = TIM_TRGO_RESET;
  sMasterConfig.MasterSlaveMode = TIM_MASTERSLAVEMODE_DISABLE;
  if (HAL_TIMEx_MasterConfigSynchronization(&htim4, &sMasterConfig) != HAL_OK)
  {
    Error_Handler();
  }

}

static void MX_TIM6_Init(void)
{

  TIM_MasterConfigTypeDef sMasterConfig = {0};

  htim6.Instance = TIM6;
  htim6.Init.Prescaler = 7199;
  htim6.Init.CounterMode = TIM_COUNTERMODE_UP;
  htim6.Init.Period = 99;
  htim6.Init.AutoReloadPreload = TIM_AUTORELOAD_PRELOAD_ENABLE;
  if (HAL_TIM_Base_Init(&htim6) != HAL_OK)
  {
    Error_Handler();
  }
  sMasterConfig.MasterOutputTrigger = TIM_TRGO_RESET;
  sMasterConfig.MasterSlaveMode = TIM_MASTERSLAVEMODE_DISABLE;
  if (HAL_TIMEx_MasterConfigSynchronization(&htim6, &sMasterConfig) != HAL_OK)
  {
    Error_Handler();
  }

}

static void MX_TIM7_Init(void)
{

  TIM_MasterConfigTypeDef sMasterConfig = {0};

  htim7.Instance = TIM7;
  htim7.Init.Prescaler = 71;
  htim7.Init.CounterMode = TIM_COUNTERMODE_UP;
  htim7.Init.Period = 799;
  htim7.Init.AutoReloadPreload = TIM_AUTORELOAD_PRELOAD_ENABLE;
  if (HAL_TIM_Base_Init(&htim7) != HAL_OK)
  {
    Error_Handler();
  }
  sMasterConfig.MasterOutputTrigger = TIM_TRGO_RESET;
  sMasterConfig.MasterSlaveMode = TIM_MASTERSLAVEMODE_DISABLE;
  if (HAL_TIMEx_MasterConfigSynchronization(&htim7, &sMasterConfig) != HAL_OK)
  {
    Error_Handler();
  }

}

static void MX_TIM8_Init(void)
{

  TIM_Encoder_InitTypeDef sConfig = {0};
  TIM_MasterConfigTypeDef sMasterConfig = {0};

  htim8.Instance = TIM8;
  htim8.Init.Prescaler = 0;
  htim8.Init.CounterMode = TIM_COUNTERMODE_UP;
  htim8.Init.Period = 5281;
  htim8.Init.ClockDivision = TIM_CLOCKDIVISION_DIV1;
  htim8.Init.RepetitionCounter = 0;
  htim8.Init.AutoReloadPreload = TIM_AUTORELOAD_PRELOAD_ENABLE;
  sConfig.EncoderMode = TIM_ENCODERMODE_TI12;
  sConfig.IC1Polarity = TIM_ICPOLARITY_RISING;
  sConfig.IC1Selection = TIM_ICSELECTION_DIRECTTI;
  sConfig.IC1Prescaler = TIM_ICPSC_DIV1;
  sConfig.IC1Filter = 10;
  sConfig.IC2Polarity = TIM_ICPOLARITY_RISING;
  sConfig.IC2Selection = TIM_ICSELECTION_DIRECTTI;
  sConfig.IC2Prescaler = TIM_ICPSC_DIV1;
  sConfig.IC2Filter = 10;
  if (HAL_TIM_Encoder_Init(&htim8, &sConfig) != HAL_OK)
  {
    Error_Handler();
  }
  sMasterConfig.MasterOutputTrigger = TIM_TRGO_RESET;
  sMasterConfig.MasterOutputTrigger2 = TIM_TRGO2_RESET;
  sMasterConfig.MasterSlaveMode = TIM_MASTERSLAVEMODE_DISABLE;
  if (HAL_TIMEx_MasterConfigSynchronization(&htim8, &sMasterConfig) != HAL_OK)
  {
    Error_Handler();
  }

}

static void MX_TIM16_Init(void)
{

  htim16.Instance = TIM16;
  htim16.Init.Prescaler = 7199;
  htim16.Init.CounterMode = TIM_COUNTERMODE_UP;
  htim16.Init.Period = 99;
  htim16.Init.ClockDivision = TIM_CLOCKDIVISION_DIV1;
  htim16.Init.RepetitionCounter = 0;
  htim16.Init.AutoReloadPreload = TIM_AUTORELOAD_PRELOAD_ENABLE;
  if (HAL_TIM_Base_Init(&htim16) != HAL_OK)
  {
    Error_Handler();
  }

}

static void MX_UART4_Init(void)
{

  huart4.Instance = UART4;
  huart4.Init.BaudRate = 115200;
  huart4.Init.WordLength = UART_WORDLENGTH_8B;
  huart4.Init.StopBits = UART_STOPBITS_1;
  huart4.Init.Parity = UART_PARITY_NONE;
  huart4.Init.Mode = UART_MODE_TX_RX;
  huart4.Init.HwFlowCtl = UART_HWCONTROL_NONE;
  huart4.Init.OverSampling = UART_OVERSAMPLING_16;
  huart4.Init.OneBitSampling = UART_ONE_BIT_SAMPLE_DISABLE;
  huart4.AdvancedInit.AdvFeatureInit = UART_ADVFEATURE_NO_INIT;
  if (HAL_UART_Init(&huart4) != HAL_OK)
  {
    Error_Handler();
  }

}

static void MX_DMA_Init(void)
{

  /* DMA controller clock enable */
  __HAL_RCC_DMA1_CLK_ENABLE();
  __HAL_RCC_DMA2_CLK_ENABLE();

  /* DMA interrupt init */
  /* DMA1_Channel1_IRQn interrupt configuration */
  HAL_NVIC_SetPriority(DMA1_Channel1_IRQn, 0, 0);
  HAL_NVIC_EnableIRQ(DMA1_Channel1_IRQn);
  /* DMA2_Channel1_IRQn interrupt configuration */
  HAL_NVIC_SetPriority(DMA2_Channel1_IRQn, 0, 0);
  HAL_NVIC_EnableIRQ(DMA2_Channel1_IRQn);
  /* DMA2_Channel3_IRQn interrupt configuration */
  HAL_NVIC_SetPriority(DMA2_Channel3_IRQn, 0, 0);
  HAL_NVIC_EnableIRQ(DMA2_Channel3_IRQn);

}

static void MX_GPIO_Init(void)
{
  GPIO_InitTypeDef GPIO_InitStruct = {0};

  /* GPIO Ports Clock Enable */
  __HAL_RCC_GPIOC_CLK_ENABLE();
  __HAL_RCC_GPIOF_CLK_ENABLE();
  __HAL_RCC_GPIOA_CLK_ENABLE();
  __HAL_RCC_GPIOB_CLK_ENABLE();
  __HAL_RCC_GPIOD_CLK_ENABLE();

  /*Configure GPIO pin Output Level */
  HAL_GPIO_WritePin(GPIOC, DIR1_Pin|DIR4_Pin|DIR9_Pin|PULSE2_Pin
                          |DIR_STEP_1_Pin, GPIO_PIN_RESET);

  /*Configure GPIO pin Output Level */
  HAL_GPIO_WritePin(GPIOB, DIR2_Pin|DIR8_Pin|EM_BRAKE_S_Pin|DIR7_Pin
                          |DIR10_Pin|DIR11_Pin|DIR_STEP_2_Pin|EM_BRAKE_E_Pin
                          |PULSE1_Pin|DIR6_Pin, GPIO_PIN_RESET);

  /*Configure GPIO pin Output Level */
  HAL_GPIO_WritePin(DIR3_GPIO_Port, DIR3_Pin, GPIO_PIN_RESET);

  /*Configure GPIO pin Output Level */
  HAL_GPIO_WritePin(DIR5_GPIO_Port, DIR5_Pin, GPIO_PIN_RESET);

  /*Configure GPIO pins : DIR1_Pin DIR4_Pin DIR9_Pin PULSE2_Pin
                           DIR_STEP_1_Pin */
  GPIO_InitStruct.Pin = DIR1_Pin|DIR4_Pin|DIR9_Pin|PULSE2_Pin
                          |DIR_STEP_1_Pin;
  GPIO_InitStruct.Mode = GPIO_MODE_OUTPUT_PP;
  GPIO_InitStruct.Pull = GPIO_NOPULL;
  GPIO_InitStruct.Speed = GPIO_SPEED_FREQ_LOW;
  HAL_GPIO_Init(GPIOC, &GPIO_InitStruct);

  /*Configure GPIO pins : DIR2_Pin DIR8_Pin EM_BRAKE_S_Pin DIR7_Pin
                           DIR10_Pin DIR11_Pin DIR_STEP_2_Pin EM_BRAKE_E_Pin
                           PULSE1_Pin DIR6_Pin */
  GPIO_InitStruct.Pin = DIR2_Pin|DIR8_Pin|EM_BRAKE_S_Pin|DIR7_Pin
                          |DIR10_Pin|DIR11_Pin|DIR_STEP_2_Pin|EM_BRAKE_E_Pin
                          |PULSE1_Pin|DIR6_Pin;
  GPIO_InitStruct.Mode = GPIO_MODE_OUTPUT_PP;
  GPIO_InitStruct.Pull = GPIO_NOPULL;
  GPIO_InitStruct.Speed = GPIO_SPEED_FREQ_LOW;
  HAL_GPIO_Init(GPIOB, &GPIO_InitStruct);

  /*Configure GPIO pin : DRILL_QUAD_A_Pin */
  GPIO_InitStruct.Pin = DRILL_QUAD_A_Pin;
  GPIO_InitStruct.Mode = GPIO_MODE_IT_RISING;
  GPIO_InitStruct.Pull = GPIO_NOPULL;
  HAL_GPIO_Init(DRILL_QUAD_A_GPIO_Port, &GPIO_InitStruct);

  /*Configure GPIO pin : DRILL_QUAD_B_Pin */
  GPIO_InitStruct.Pin = DRILL_QUAD_B_Pin;
  GPIO_InitStruct.Mode = GPIO_MODE_IT_RISING_FALLING;
  GPIO_InitStruct.Pull = GPIO_NOPULL;
  HAL_GPIO_Init(DRILL_QUAD_B_GPIO_Port, &GPIO_InitStruct);

  /*Configure GPIO pin : DIR3_Pin */
  GPIO_InitStruct.Pin = DIR3_Pin;
  GPIO_InitStruct.Mode = GPIO_MODE_OUTPUT_PP;
  GPIO_InitStruct.Pull = GPIO_NOPULL;
  GPIO_InitStruct.Speed = GPIO_SPEED_FREQ_LOW;
  HAL_GPIO_Init(DIR3_GPIO_Port, &GPIO_InitStruct);

  /*Configure GPIO pin : DIR5_Pin */
  GPIO_InitStruct.Pin = DIR5_Pin;
  GPIO_InitStruct.Mode = GPIO_MODE_OUTPUT_PP;
  GPIO_InitStruct.Pull = GPIO_NOPULL;
  GPIO_InitStruct.Speed = GPIO_SPEED_FREQ_LOW;
  HAL_GPIO_Init(DIR5_GPIO_Port, &GPIO_InitStruct);

  /* EXTI interrupt init*/
  HAL_NVIC_SetPriority(EXTI9_5_IRQn, 0, 0);
  HAL_NVIC_EnableIRQ(EXTI9_5_IRQn);

}

/* USER CODE BEGIN 4 */
void HAL_GPIO_EXTI_Callback(uint16_t GPIO_Pin)
{
  if(GPIO_Pin == DRILL_QUAD_A_Pin || GPIO_Pin == DRILL_QUAD_B_Pin) {
    Encoder_Process();
  } else {
      __NOP();
  }
}

void HAL_UART_RxCpltCallback(UART_HandleTypeDef *huart)
{
	for (int i = 0; i < NUM_MOTORS; i++) {
			dir_arr[i] = uart_rx_buf[2*i];
			pwm_arr[i] = uart_rx_buf[2*i + 1];
	}
	for (int i = 0; i < NUM_SERVOS; i++){
		// 16 bits of which 12 are used
		servo_arr[i] = (uart_rx_buf[(2*NUM_MOTORS) + 2*i]) << 8;
		servo_arr[i] = (servo_arr[i] | (uart_rx_buf[2*NUM_MOTORS + 2*i + 1]));
	}
	wrist_command = uart_rx_buf[2*NUM_MOTORS + 2*NUM_SERVOS];

	HAL_UART_Receive_DMA(&huart4, uart_rx_buf, UART_RX_SIZE);
}

/* USER CODE END 4 */

void Error_Handler(void)
{
  __disable_irq();
  while (1)
  {
  }
}
